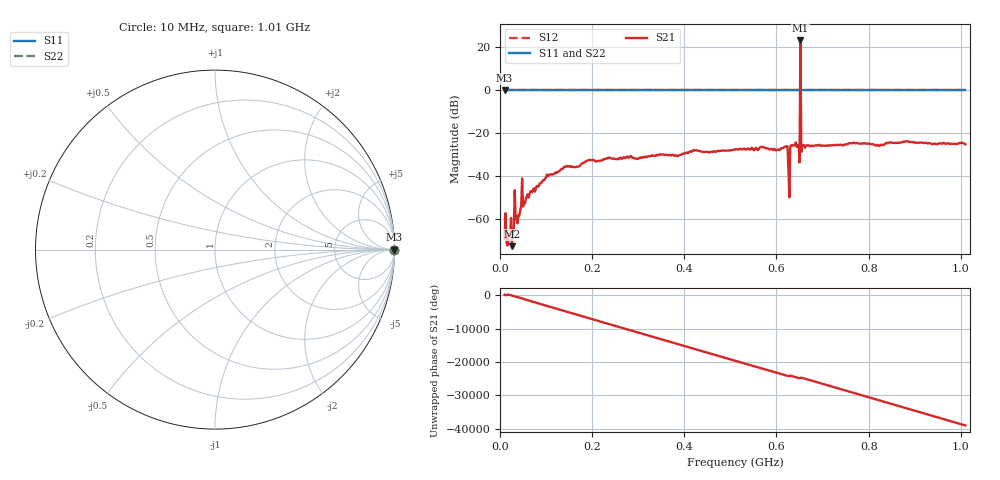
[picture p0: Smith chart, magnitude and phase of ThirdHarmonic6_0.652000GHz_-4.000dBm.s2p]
! 8/15/2025 9:37:35 PM
! C:\ANRITSUVNA\TEMP\TEMP.S2P
! CHANNEL.1
! TR.MEASUREMENT
! RAW.DATA
! RF.CORRECTION.OFF
! AVERAGING.OFF
! IF.BANDWIDTH: 5KHZ
! SWEEPTYPE:  FREQ.SWEEP(Linear)
! Reference Plane Port Info
! PORT:  PORT1  PORT2
! DISTANCE:  0  m  0  m
! TIME:  0  s  0  s
! PHASE.OFFSET:  0  deg.  0  deg.
! LOSS:  0  dB  0  dB
! REF.LOSS:  0  dB  0  dB
! REF.FREQ:  0  Hz  0  Hz
! Power Info
! POWER:  -20  dBm  -20  dBm
! EFF.POWER:  -20  dBm  -20  dBm
! SOURCE.ATTEN:  0  dB  0  dB
! TEST.ATTEN:  0  dB  0  dB
# GHZ S RI R 50.0
! FREQ.GHZ  S11RE  S11IM  S21RE  S21IM  S12RE  S12IM  S22RE  S22IM
!; PortSelection: Port_12
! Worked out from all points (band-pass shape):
!   501 points, 10 MHz to 1.01 GHz, reference 50 ohm
!   highest |S21| = 23.20 dB at 652 MHz (marker M1); lowest = -72.6 dB at 26 MHz (marker M2)
!   |S21| within 3 dB of the highest: 651.8943 MHz to 652.1156 MHz (221.3 kHz wide, 0.0339 % of centre)
!   lowest |S11| = 0.0 dB at 10 MHz (marker M3)
!   |S11| at or under -10 dB: nowhere
!   |S22| runs from 0.0 to 0.0 dB; largest |S21 - S12| = 14
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0.01  1 0  -0.000304 0.000164  1 0  1 0
0.018  1 0  -0.000174 0.000262  1 0  1 0
0.026  1 0  8.43e-05 -0.000219  1 0  1 0
0.032  1 0  0.00254 -0.00398  1 0  1 0
0.04  1 0  0.000735 0.00102  1 0  1 0
0.052  1 0  -9.97e-05 -0.00238  1 0  1 0
0.106  1 0  -0.00731 -0.00733  1 0  1 0
0.178  1 0  -0.0192 -0.00433  1 0  1 0
0.344  1 0  0.0297 -0.00785  1 0  1 0
0.51  1 0  -0.0383 0.0173  1 0  1 0
0.62  1 0  0.0238 0.0417  1 0  1 0
0.624  1 0  -0.00747 -0.0488  1 0  1 0
0.63  1 0  0.0477 0.0143  1 0  1 0
0.634  1 0  -0.0446 -0.0291  1 0  1 0
0.646  1 0  0.00149 0.0519  1 0  1 0
0.648  1 0  0.0526 0.00599  1 0  1 0
0.652  1 0  1.357 14.4  1 0  1 0
0.656  1 0  0.0378 0.035  1 0  1 0
0.658  1 0  0.0411 -0.0301  1 0  1 0
0.678  1 0  -0.0269 -0.0418  1 0  1 0
0.844  1 0  0.0473 0.0373  1 0  1 0
1.01  1 0  -0.055 -0.00606  1 0  1 0
